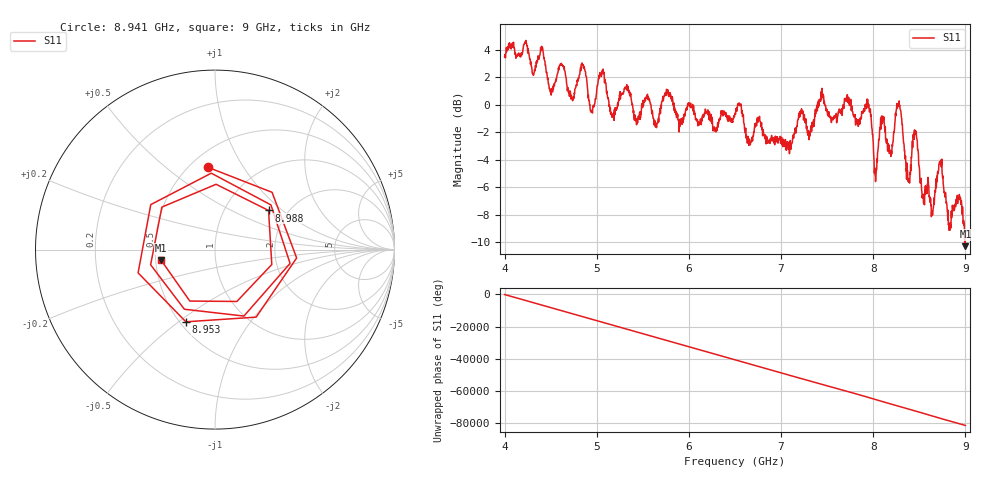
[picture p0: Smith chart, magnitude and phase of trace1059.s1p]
! Created with skrf 1.8.0 (http://scikit-rf.org).
# Hz S RI R 50.0
!freq ReS11 ImS11
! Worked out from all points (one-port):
!   1601 points, 4 GHz to 9 GHz, reference 50 ohm
!   lowest |S11| = -10.3 dB at 9 GHz (marker M1), VSWR 1.88, Z = 26.8 - j3.51 ohm
!   |S11| at or under -10 dB: 8.9934 GHz to 8.995427 GHz (2.027 MHz wide, 0.0225 % of centre); 8.997654 GHz to end of sweep
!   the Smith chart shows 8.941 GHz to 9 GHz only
!   S11 on the Smith chart (normalised r, x): 8.941 GHz: 0.61, +0.71; 8.953 GHz: 0.54, -0.53; 8.988 GHz: 1.60, +0.81; 9 GHz: 0.54, -0.07
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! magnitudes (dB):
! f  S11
! 4 GHz  3.5
! 4.403 GHz  4.3
! 4.506 GHz  0.7
! 4.625 GHz  2.9
! 4.728 GHz  0.4
! 4.856 GHz  2.7
! 4.947 GHz  -0.6
! 5.056 GHz  2.3
! 5.162 GHz  -0.6
! 5.25 GHz  0.4
! 5.875 GHz  -0.9
! 6.5 GHz  -0.6
! 7.125 GHz  -2.5
! 7.75 GHz  0.0
! 7.953 GHz  -0.2
! 8.028 GHz  -5.3
! 8.094 GHz  -1.4
! 8.191 GHz  -3.8
! 8.278 GHz  -0.1
! 8.375 GHz  -5.5
! 8.456 GHz  -2.1
! 8.631 GHz  -8.1
! 8.722 GHz  -4.1
! 8.828 GHz  -8.9
! 8.941 GHz  -6.7
! 8.953 GHz  -7.3
! 8.988 GHz  -8.6
! 9 GHz  -10.3
